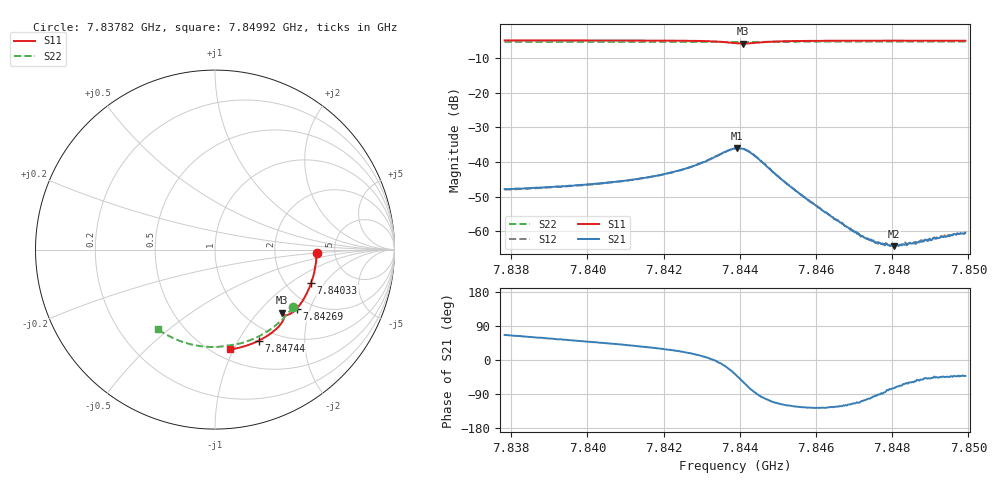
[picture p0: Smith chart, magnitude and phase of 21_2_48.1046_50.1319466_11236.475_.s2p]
#  HZ  S  RI  R  50.00
! Rohde & Schwarz Vector Network Analyzer
! Rohde-Schwarz,ZNB20-2Port,1311601062101988,3.16
! Created: UTC 12/23/2023, 3:36:40 AM
! freq[Hz]  re:S11  im:S11  re:S21  im:S21  re:S12  im:S12  re:S22  im:S22
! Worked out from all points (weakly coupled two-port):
!   401 points, 7.83782 GHz to 7.84992 GHz, reference 50 ohm
!   highest |S21| = -35.95 dB at 7.84393 GHz (marker M1); lowest = -64.3 dB at 7.84804 GHz (marker M2)
!   lowest |S11| = -5.8 dB at 7.84408 GHz (marker M3), VSWR 3.10, Z = 71.3 - j67.9 ohm
!   |S11| at or under -10 dB: nowhere
!   |S22| runs from -5.4 to -5.3 dB; largest |S21 - S12| = 0.00033
!   S11 on the Smith chart (normalised r, x): 7.83782 GHz: 3.60, -0.21; 7.84033 GHz: 2.72, -1.48; 7.84269 GHz: 1.69, -1.62; 7.84744 GHz: 0.82, -1.22; 7.84992 GHz: 0.60, -0.97
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7.837824e9  0.5663 -0.0202  0.00165 0.00372  0.00165 0.00365  0.4356 -0.3189
7.83985e9  0.5459 -0.1535  0.00305 0.00358  0.00299 0.00352  0.3382 -0.4219
7.840334e9  0.5359 -0.1846  0.00345 0.0035  0.0034 0.00351  0.3112 -0.4426
7.841211e9  0.5132 -0.2402  0.00444 0.00341  0.00438 0.0034  0.2592 -0.4753
7.841876e9  0.4907 -0.2809  0.00554 0.00322  0.00554 0.00327  0.2174 -0.496
7.842693e9  0.4547 -0.329  0.00799 0.00258  0.00796 0.00258  0.1634 -0.5164
7.843418e9  0.4074 -0.3633  0.0124 -0.00114  0.0122 -0.00099  0.1136 -0.5285
7.843872e9  0.3741 -0.3599  0.0125 -0.00948  0.0124 -0.0094  0.0834 -0.5324
7.843932e9  0.3723 -0.3571  0.0116 -0.0109  0.0117 -0.0107  0.0796 -0.533
7.844084e9  0.3725 -0.3515  0.00829 -0.0131  0.00844 -0.0131  0.0703 -0.5343
7.844386e9  0.3832 -0.3565  0.000974 -0.0123  0.00101 -0.0123  0.0511 -0.5379
7.845172e9  0.3697 -0.4106  -0.00247 -0.00454  -0.00248 -0.00456  -0.00413 -0.5428
7.845898e9  0.3332 -0.4495  -0.00151 -0.00207  -0.00151 -0.0021  -0.0554 -0.5409
7.846956e9  0.273 -0.4918  -0.000431 -0.000913  -0.000475 -0.000928  -0.1288 -0.529
7.847229e9  0.2567 -0.5007  -0.000266 -0.000808  -0.000294 -0.000792  -0.1474 -0.5242
7.84744e9  0.2439 -0.5072  -0.000133 -0.000751  -0.000122 -0.000738  -0.1616 -0.5203
7.847561e9  0.2366 -0.5108  -4.01e-05 -0.000696  -6.12e-05 -0.000675  -0.1699 -0.5177
7.847924e9  0.2141 -0.5209  0.000145 -0.000607  0.000145 -0.000621  -0.1938 -0.5094
7.848045e9  0.2065 -0.5238  0.000165 -0.000588  0.000179 -0.000624  -0.2019 -0.5065
7.848226e9  0.1953 -0.5282  0.000241 -0.00059  0.000286 -0.000568  -0.2136 -0.5015
7.849224e9  0.1311 -0.5475  0.000556 -0.000578  0.000584 -0.000597  -0.2763 -0.4705
7.84992e9  0.0858 -0.5562  0.000709 -0.000636  0.000725 -0.000638  -0.3175 -0.4444
